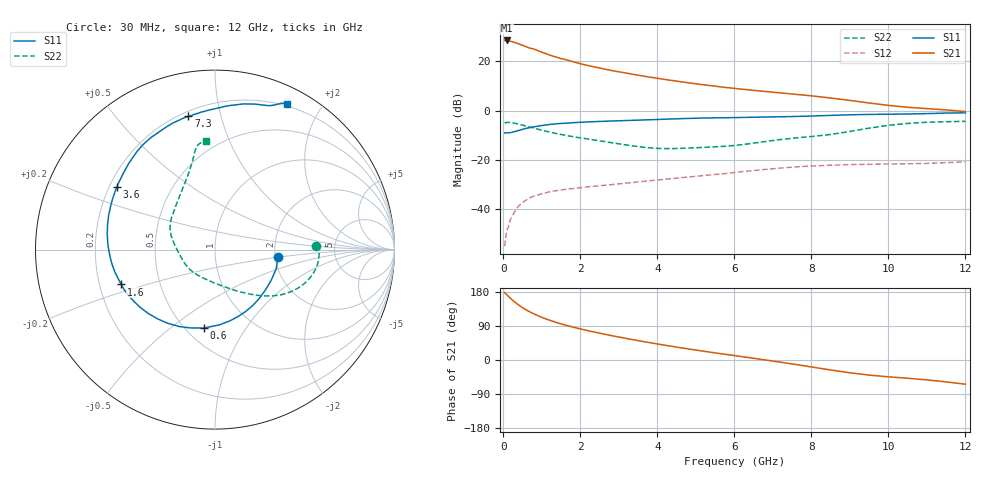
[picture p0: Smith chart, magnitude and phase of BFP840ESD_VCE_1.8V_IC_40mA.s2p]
! Infineon Technologies  Discrete & RF Semiconductors
! BFP840ESD
! VCE =  1.8 V,  IC =  40 mA
! Common Emitter S-Parameters:  May 2012
# GHz  S  MA  R  50
!  f  S11  S21  S12  S22
! GHz  MAG  ANG  MAG  ANG  MAG  ANG  MAG  ANG
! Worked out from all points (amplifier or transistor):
!   93 points, 30 MHz to 12 GHz, reference 50 ohm
!   highest |S21| = 28.5 dB at 80 MHz (marker M1)
!   |S21| within 3 dB of that: start of sweep to 669 MHz
!   unconditionally stable (mu >= 1): start of sweep to 626.5 MHz; 1.222 GHz to 11.88 GHz
!   at 1.1 GHz: K = 0.99, MSG = 28.2 dB, |S12| = -33.3 dB
!   at 4.2 GHz: K = 1.53, MAG = 15.9 dB, |S12| = -27.8 dB
!   at 12 GHz: K = 0.98, MSG = 10.2 dB, |S12| = -20.7 dB
!   S11 on the Smith chart (normalised r, x): 30 MHz: 2.07, -0.21; 600 MHz: 0.61, -0.66; 1.6 GHz: 0.29, -0.16; 3.6 GHz: 0.23, +0.28; 7.3 GHz: 0.23, +0.79; 12 GHz: 0.17, +1.60
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0.03  0.3539 -7.1  26.51 177.9  0.0018 73.2  0.5605 2.3
0.08  0.3574 -17.5  26.54 172.8  0.0036 68.0  0.5805 -2.3
0.18  0.3595 -37.9  25.6 163.0  0.0062 63.8  0.5755 -9.1
0.28  0.3758 -55.9  24.33 154.1  0.0086 63.1  0.5593 -14.7
0.33  0.3849 -63.8  23.67 150.1  0.01 61.3  0.5487 -17.3
0.5  0.4206 -86.9  21.14 137.9  0.0138 56.4  0.5105 -24.8
0.6  0.4413 -98.1  19.64 131.7  0.0156 54.0  0.487 -28.5
0.8  0.4724 -114.8  17.72 121.3  0.0187 49.5  0.4428 -34.8
0.9  0.488 -122.8  16.43 116.7  0.0197 47.8  0.4222 -37.4
1.1  0.5146 -136.3  14.34 108.5  0.0217 44.4  0.3855 -42.0
1.3  0.5354 -147.1  12.69 101.5  0.0236 41.9  0.3556 -46.0
1.6  0.5568 -159.6  10.97 92.4  0.0255 39.9  0.319 -51.3
2.1  0.5877 -177.4  8.565 79.6  0.0282 37.1  0.2742 -59.3
2.8  0.6182 164.3  6.561 64.5  0.0317 37.0  0.2255 -71.4
3.6  0.6486 147.5  5.09 49.3  0.0367 36.5  0.1837 -92.8
4.1  0.669 138.4  4.409 40.6  0.0402 35.9  0.1717 -110.7
5  0.7048 126.0  3.512 26.2  0.0469 33.4  0.1777 -141.0
6.1  0.7278 114.5  2.784 10.3  0.057 29.9  0.2017 -173.6
7.3  0.757 101.3  2.26 -7.3  0.0698 21.1  0.2663 158.8
8.5  0.8045 84.9  1.809 -26.3  0.0788 9.6  0.33 131.1
10.5  0.8582 69.1  1.176 -48.1  0.0842 -5.9  0.5526 101.9
12  0.9076 63.7  0.96 -63.8  0.092 -13.9  0.6096 94.7
